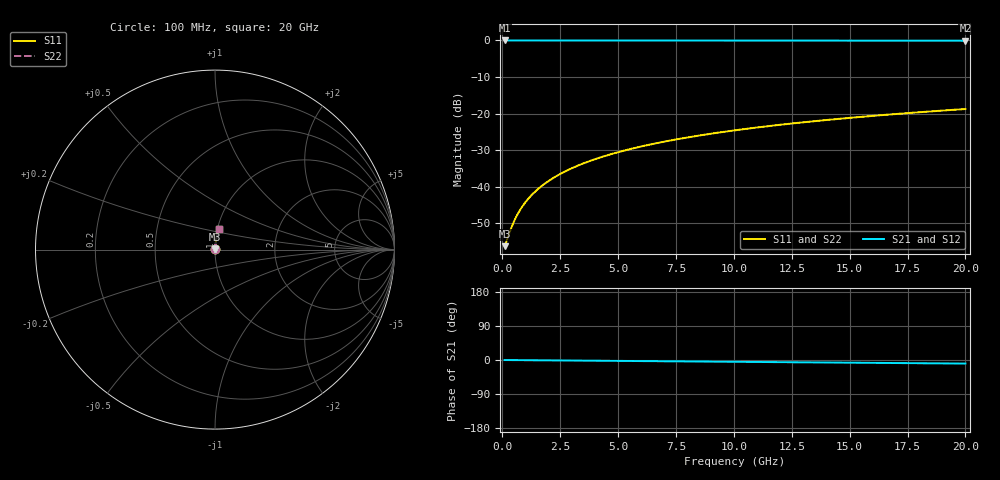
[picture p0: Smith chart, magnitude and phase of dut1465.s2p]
! Touchstone file exported from HFSS 2026.1.0
!  File:  C:/ffzhzh/LocalFiles/Ansys_Project_Files/temp_train_TSV_1465_1783198214_51560.aedt
!  Generated:  04:52:38 AM Jul  5, 2026
!  Design:  TSV
!  Project:  temp_train_TSV_1465_1783198214_51560
! Variables:
!  h_bsmrdl = 2um
!  h_ox = 20um
!  h_rdl = 5um
!  h_sub = 61.79um
!  h_tmrdl = 5um
!  h_tsv = 61.79um
!  h_via = 3um
!  l_bsmrdl = 300um
!  l_sub = 404.52um
!  l_tmrdl = 200um
!  m_sub = 200um
!  pitch = 42.78um
!  r_tsv = 2.26um
!  s_tmrdl = 10um
!  w_bsmrdl = 18um
!  w_sub = 500um
!  w_tmrdl = 12um
!  x_tsv_center1 = 206um
!  x_tsv_center2 = 524um
!  x_tsv_center3 = 736um
!  x_tsv_center4 = 1054um
!  x_tsv_center5 = 1266um
!  x_tsv_center6 = 1584um
# GHz S MA R 50.000000
! Terminal data exported
! Port[1] = TSV1_1_T1
! Port[2] = TSV1_1_T2
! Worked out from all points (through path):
!   200 points, 100 MHz to 20 GHz, reference 50 ohm
!   highest |S21| = -0.01 dB at 100 MHz (marker M1); lowest = -0.1 dB at 20 GHz (marker M2)
!   group delay of S21, straight-line fit = 1.31 ps
!   lowest |S11| = -56.3 dB at 100 MHz (marker M3), VSWR 1.00, Z = 50.1 + j0.06 ohm
!   |S11| at or under -10 dB: start of sweep to end of sweep
!   |S22| runs from -56.3 to -18.8 dB; largest |S21 - S12| = 4.1e-15
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0.1  0.001531 23.0  0.9986 -0.0  0.9986 -0.0  0.001531 23.0
! Gamma 0 0 0 0
! Port Impedance 50 0 50 0
0.4  0.002782 59.1  0.9986 -0.2  0.9986 -0.2  0.002782 59.1
0.5  0.00331 64.2  0.9986 -0.2  0.9986 -0.2  0.00331 64.2
0.6  0.003855 67.9  0.9986 -0.3  0.9986 -0.3  0.003855 67.9
0.7  0.004412 70.6  0.9986 -0.3  0.9986 -0.3  0.004412 70.6
0.9  0.005547 74.4  0.9985 -0.4  0.9985 -0.4  0.005547 74.4
1.1  0.006696 76.9  0.9985 -0.5  0.9985 -0.5  0.006696 76.9
1.3  0.007854 78.6  0.9985 -0.6  0.9985 -0.6  0.007854 78.6
1.7  0.01019 80.8  0.9985 -0.8  0.9985 -0.8  0.01019 80.8
2.2  0.01311 82.3  0.9984 -1.1  0.9984 -1.1  0.01311 82.3
2.8  0.01664 83.4  0.9983 -1.3  0.9983 -1.3  0.01664 83.4
3.5  0.02075 84.0  0.9982 -1.7  0.9982 -1.7  0.02075 84.0
4.2  0.02486 84.2  0.9981 -2.0  0.9981 -2.0  0.02486 84.2
5  0.02956 84.3  0.9979 -2.4  0.9979 -2.4  0.02956 84.3
5.9  0.03483 84.3  0.9976 -2.8  0.9976 -2.8  0.03483 84.3
6.8  0.04008 84.1  0.9973 -3.2  0.9973 -3.2  0.04008 84.1
8.3  0.04881 83.7  0.9968 -4.0  0.9968 -4.0  0.04881 83.7
10.1  0.05921 83.0  0.996 -4.8  0.996 -4.8  0.05921 83.0
11.7  0.0684 82.4  0.9952 -5.6  0.9952 -5.6  0.0684 82.4
13.4  0.07811 81.7  0.9943 -6.4  0.9943 -6.4  0.07811 81.7
16.7  0.09676 80.3  0.9923 -7.9  0.9923 -7.9  0.09676 80.3
20  0.1152 78.9  0.99 -9.4  0.99 -9.4  0.1152 78.9
